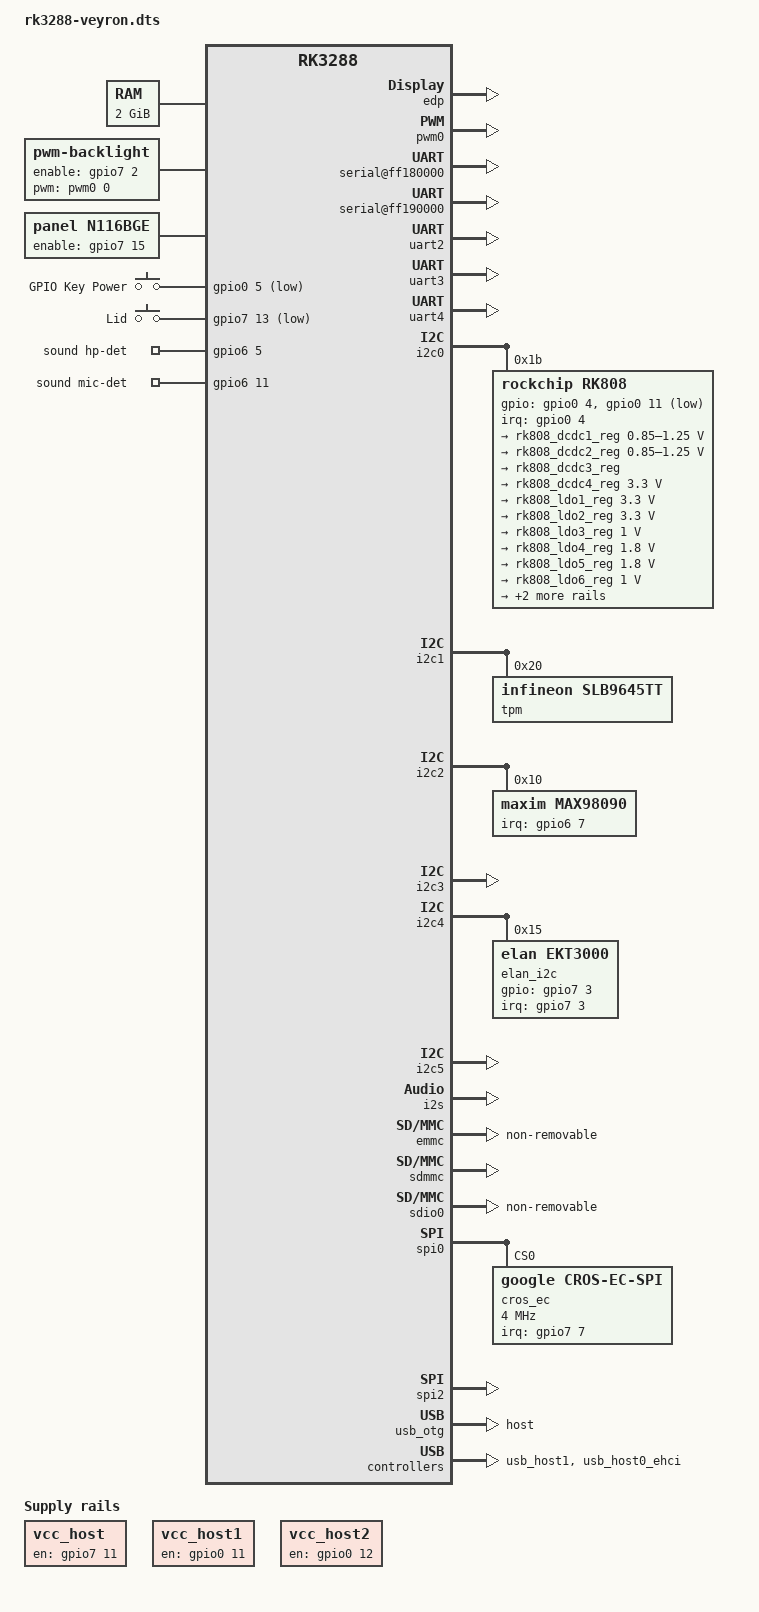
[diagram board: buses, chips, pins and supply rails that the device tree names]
/*
 * This program is free software; you can redistribute it and/or modify
 * it under the terms of the GNU General Public License as published by
 * the Free Software Foundation; either version 2 of the License, or
 * (at your option) any later version.
 *
 * This program is distributed in the hope that it will be useful,
 * but WITHOUT ANY WARRANTY; without even the implied warranty of
 * MERCHANTABILITY or FITNESS FOR A PARTICULAR PURPOSE.  See the
 * GNU General Public License for more details.
 */
/dts-v1/;
#include <dt-bindings/input/input.h>
#include "rk3288.dtsi"

&pinctrl {
	buttons {
		pwrbtn: pwrbtn {
			rockchip,pins = <0 5 RK_FUNC_GPIO &pcfg_pull_up>;
		};
		lid_switch: lid-switch {
			rockchip,pins = <7 13 RK_FUNC_GPIO &pcfg_pull_up>;
		};
	};

	usb {
		host_vbus_drv: host-vbus-drv {
			rockchip,pins = <7 11 RK_FUNC_GPIO &pcfg_pull_up>;
		};
		host1_drv: host1_drv {
			rockchip,pins = <0 11 RK_FUNC_GPIO &pcfg_pull_up>;
		};
		host2_drv: host2_drv {
			rockchip,pins = <0 12 RK_FUNC_GPIO &pcfg_pull_up>;
		};
	};

	elan {
		elan_isr: elan-isr {
			rockchip,pins = <7 3 RK_FUNC_GPIO &pcfg_pull_up>;		
		};
	};

	codec {
		int_codec: int_codec {
			rockchip,pins = <6 7 RK_FUNC_GPIO &pcfg_pull_down>;
		};
	};
};

/ {
	compatible = "rockchip,rk3288-veyron", "rockchip,rk3288";
	aliases {
		mshc0 = &sdmmc;
		mshc1 = &sdio0;
		mshc3 = &emmc;

		serial0 = &uart0;
		serial1 = &uart1;
		serial2 = &uart2;
		serial3 = &uart3;
		serial4 = &uart4;
	};

	memory {
		reg = <0x0 0x80000000>;
	};

	backlight {
		compatible = "pwm-backlight";
		pwms = <&pwm0 0 25000>;
		brightness-levels = <0 1 2 3 4 5 6 7 8 9 10 11 12 13 14 15 16 17 18 19 20 21 22 23 24 25 26 27 28 29 30 31 32 33 34 35 36 37 38 39 40 41 42 43 44 45 46 47 48 49 50 51 52 53 54 55 56 57 58 59 60 61 62 63 64 65 66 67 68 69 70 71 72 73 74 75 76 77 78 79 80 81 82 83 84 85 86 87 88 89 90 91 92 93 94 95 96 97 98 99 100 101 102 103 104 105 106 107 108 109 110 111 112 113 114 115 116 117 118 119 120 121 122 123 124 125 126 127 128 129 130 131 132 133 134 135 136 137 138 139 140 141 142 143 144 145 146 147 148 149 150 151 152 153 154 155 156 157 158 159 160 161 162 163 164 165 166 167 168 169 170 171 172 173 174 175 176 177 178 179 180 181 182 183 184 185 186 187 188 189 190 191 192 193 194 195 196 197 198 199 200 201 202 203 204 205 206 207 208 209 210 211 212 213 214 215 216 217 218 219 220 221 222 223 224 225 226 227 228 229 230 231 232 233 234 235 236 237 238 239 240 241 242 243 244 245 246 247 248 249 250 251 252 253 254 255>;
		default-brightness-level = <128>;
		enable-gpios = <&gpio7 2 GPIO_ACTIVE_HIGH>;
    };

	panel: panel {                                               
		compatible ="panel,n116bge","simple-panel";                        
		status = "okay";
		enable-gpios = <&gpio7 15 GPIO_ACTIVE_HIGH>;
	};

	soc {
		gpio-keys {
			compatible = "gpio-keys";
			#address-cells = <1>;
			#size-cells = <0>;
			autorepeat;
			pinctrl-names = "default";
			pinctrl-0 = <&pwrbtn &lid_switch>;

			pwr-btn {
				gpios = <&gpio0 5 GPIO_ACTIVE_LOW>;
				linux,code = <116>;
				label = "GPIO Key Power";
				linux,input-type = <1>;
				gpio-key,wakeup = <1>;
				debounce-interval = <100>;
			};

			lid {
				label = "Lid";
				gpios = <&gpio7 13 GPIO_ACTIVE_LOW>;
				linux,input-type = <5>; /* EV_SW */
				linux,code = <0>; /* SW_LID */
				debounce-interval = <1>;
				gpio-key,wakeup;
			};
		};

		edp: edp@ff970000 {
			status = "okay";
			rockchip,panel = <&panel>;
		};

		lvds: lvds@ff96c000 {
			status = "disabled";
			rockchip,data-mapping = "jeida";
			rockchip,data-width = <24>;
			rockchip,panel = <&panel>;
		};

		vopb: vopb@ff930000 {
	      		status = "okay";
      		};

		vopl: vopl@ff940000 {
			status = "okay";
		};

		watchdog@ff800000 {
			status = "okay";
		};

		pwm0: pwm@ff680000 {
			status = "okay";
			rockchip,grf = <&grf>;
		};
		
		serial@ff180000 {
			status = "okay";
		};

		serial@ff190000 {
			status = "okay";
		};

		uart2: serial@ff690000 {
			pinctrl-names = "default";
			pinctrl-0 = <&uart2_xfer>;
			status = "okay";
		};

		uart3: serial@ff1b0000 {
			status = "okay";
		};

		uart4: serial@ff1c0000 {
			status = "okay";
		};
	};

	sound {
		compatible = "rockchip,rockchip-audio-max98090-veyron",
				 "rockchip,rockchip-audio-max98090";
		rockchip,model = "ROCKCHIP-I2S";

		rockchip,audio-routing =
			"Headphones", "HPR",
			"Headphones", "HPL",
			"Speakers", "SPKR",
			"Speakers", "SPKL",
			"Mic Jack", "MICBIAS",
			"IN34", "Mic Jack";

		rockchip,hp-det-gpios = <&gpio6 5 GPIO_ACTIVE_HIGH>;
		rockchip,mic-det-gpios = <&gpio6 11 GPIO_ACTIVE_HIGH>;

		rockchip,i2s-controller = <&i2s>;
		rockchip,audio-codec = <&max98090>;
	};

	/* This turns on USB vbus for both host0 (ehci) and host1 (dwc2) */
	vcc_host: vcc-host-regulator {
		compatible = "regulator-fixed";
		enable-active-high;
		gpio = <&gpio7 11 GPIO_ACTIVE_HIGH>;
		pinctrl-names = "default";
		pinctrl-0 = <&host_vbus_drv>;
		regulator-name = "vcc_host";
		regulator-always-on;
		regulator-boot-on;
	};

	vcc_host1: vcc_host1 {
		compatible = "regulator-fixed";
		enable-active-high;
		gpio = <&gpio0 11 GPIO_ACTIVE_HIGH>;
		pinctrl-names = "default";
		pinctrl-0 = <&host1_drv>;
		regulator-name = "vcc_host1";
		regulator-always-on;
		regulator-boot-on;
	};

	vcc_host2: vcc_host2 {
		compatible = "regulator-fixed";
		enable-active-high;
		gpio = <&gpio0 12 GPIO_ACTIVE_HIGH>;
		pinctrl-names = "default";
		pinctrl-0 = <&host2_drv>;
		regulator-name = "vcc_host2";
		regulator-always-on;
		regulator-boot-on;
	};
};

&i2c0 {
	status = "okay";
	pinctrl-names = "default";
	pinctrl-0 = <&i2c0_xfer>;

	rk808: rk808@1b {
		compatible = "rockchip,rk808";
		reg = <0x1b>;
		interrupt-parent = <&gpio0>;
		interrupts = <4 IRQ_TYPE_EDGE_FALLING>;
		gpios = <&gpio0 4 GPIO_ACTIVE_HIGH>,<&gpio0 11 GPIO_ACTIVE_LOW>;
	};
};

&i2c1 {
	status = "okay";
	pinctrl-names = "default";
	pinctrl-0 = <&i2c1_xfer>;

	tpm: tpm@20 {
		compatible = "infineon,slb9645tt";
		reg = <0x20>;
	};
};

&i2c2 {
	status = "okay";
	pinctrl-names = "default";
	pinctrl-0 = <&i2c2_xfer>;

	max98090: max98090@10 {
		compatible = "maxim,max98090";
		reg = <0x10>;
		interrupt-parent = <&gpio6>;
		interrupts = <7 IRQ_TYPE_EDGE_FALLING>;
		pinctrl-names = "default";
		pinctrl-0 = <&int_codec>;
	};
};

&i2c3 {
	status = "okay";
	pinctrl-names = "default";
	pinctrl-0 = <&i2c3_xfer>;
};

&i2c4 {
	status = "okay";
	pinctrl-names = "default";
	pinctrl-0 = <&i2c4_xfer>;

	elan_i2c@15 {
		compatible = "elan,ekt3000";
		reg = <0x15>;
		gpios = <&gpio7 3 GPIO_ACTIVE_HIGH>;
		interrupt-parent = <&gpio7>;
		interrupts = <3 IRQ_TYPE_LEVEL_LOW>;
		pinctrl-names = "default";
		pinctrl-0 = <&elan_isr>;
	};
};

&i2c5 {
	status = "okay";
	pinctrl-names = "default";
	pinctrl-0 = <&i2c5_xfer>;
};

&i2s {
	status = "okay";
	pinctrl-names = "default";
	pinctrl-0 = <&i2s0_clk>;
};

&emmc {
	num-slots = <1>;
	status = "okay";

	clock-frequency = <150000000>;
	clock-freq-min-max = <400000 150000000>;

	default_voltage = <1>;

	broken-cd;
	non-removable;
	cap-mmc-highspeed;

	caps2-mmc-hs200-1_8v;

	pinctrl-names = "default";
	pinctrl-0 = <&emmc_clk &emmc_cmd &emmc_rst &emmc_pwr &emmc_bus8>;

	slot@0 {
		reg = <0>;
		bus-width = <8>;
		disable-wp;
	};
};

&sdmmc {
	num-slots = <1>;
	status = "okay";

	vqmmc-supply = <&rk808_ldo8_reg>;

	clock-frequency = <150000000>;
	clock-freq-min-max = <400000 150000000>;

	card-detect-delay = <200>;

	default_voltage = <0>; //3.3v
	cap-sd-highspeed;
	cap-mmc-highspeed;

	supports-highspeed;
	pinctrl-names = "default", "power_on", "power_off";
	pinctrl-0 = <&sdmmc_clk &sdmmc_cd_gpio &sdmmc_cmd &sdmmc_bus4>;
	pinctrl-1 = <&sdmmc_power_on>;
	pinctrl-2 = <&sdmmc_power_off>;

	slot@0 {
		cd-gpios = <&gpio7 5 GPIO_ACTIVE_LOW>;
		reg = <0>;
		bus-width = <4>;
		disable-wp;
	};
};

&sdio0 {
	num-slots = <1>;
	status = "okay";

	clock-frequency = <150000000>;
	clock-freq-min-max = <400000 150000000>;

	default_voltage = <1>; //1.8v

	broken-cd;
	non-removable;
	cap-sdio-irq;
	cap-sd-highspeed;
	ignore-pm-notify;
	keep-power-in-suspend;

	pinctrl-names = "default";
	pinctrl-0 = <&sdio0_clk &sdio0_cmd &sdio0_cd &sdio0_pwr &sdio0_bkpwr &sdio0_bus4>;

	rockchip,grf = <&grf>;

	slot@0 {
		reg = <0>;
		bus-width = <4>;
		disable-wp;
	};
};

&spi0 {
	status = "okay";
	cros_ec: cros-ec@0 {
		compatible = "google,cros-ec-spi";
		spi-max-frequency = <4000000>;
		interrupt-parent = <&gpio7>;
		interrupts = <7 IRQ_TYPE_LEVEL_LOW>;
		reg = <0>;

		google,cros-ec-spi-msg-delay = <2000>;

		charger: gpio-charger@0 {
			compatible = "gpio-charger";
			charger-type = "usb-sdp";
			gpios = <&gpio0 8 GPIO_ACTIVE_HIGH>;
		};

		i2c-tunnel {
			compatible = "google,cros-ec-i2c-tunnel";
			#address-cells = <1>;
			#size-cells = <0>;

			google,remote-bus = <0>;

			battery: sbs-battery@b {
				compatible = "sbs,sbs-battery";
				reg = <0xb>;
				sbs,i2c-retry-count = <2>;
				sbs,poll-retry-count = <1>;
			};
		};
	};
};

&spi2 {
	status = "okay";
};

&usb_otg {
	dr_mode = "host";
	status = "okay";
};

&usb_host1 {
	status = "okay";
};

&usb_host0_ehci {
	status = "okay";
};

&rk808 {
		//compatible = "rockchip,rk808";
		rk808,system-power-controller;
		regulators {
			#address-cells = <1>;
			#size-cells = <0>;

			rk808_dcdc1_reg: regulator@0 {
				reg = <0>;
				regulator-compatible = "DCDC_REG1";
				regulator-name = "vdd_arm";
				regulator-min-microvolt = <850000>;
				regulator-max-microvolt = <1250000>;
				regulator-initial-mode = <0x2>;
				regulator-always-on;
				regulator-boot-on;
				regulator-initial-state = <3>;
				regulator-state-mem {
					regulator-state-mode = <0x2>;
					regulator-state-disabled;
					regulator-state-uv = <900000>;
				};
			};

			rk808_dcdc2_reg: regulator@1 {
				reg = <1>;
				regulator-compatible = "DCDC_REG2";
				regulator-name = "vdd_gpu";
				regulator-min-microvolt = <850000>;
				regulator-max-microvolt = <1250000>;
				regulator-initial-mode = <0x2>;
				regulator-always-on;
				regulator-boot-on;
				regulator-initial-state = <3>;
				regulator-state-mem {
					regulator-state-mode = <0x2>;
					regulator-state-disabled;
					regulator-state-uv = <900000>;
				};
			};

			rk808_dcdc3_reg: regulator@2 {
				reg = <2>;
				regulator-compatible = "DCDC_REG3";
				regulator-name = "vdd_ddr";
				regulator-initial-mode = <0x2>;
				regulator-always-on;
				regulator-boot-on;
				regulator-initial-state = <3>;
				regulator-state-mem {
					regulator-state-enabled;
				};
			};

			rk808_dcdc4_reg: regulator@3 {
				reg = <3>;
				regulator-compatible = "DCDC_REG4";
				regulator-name = "vccio";
				regulator-min-microvolt = <3300000>;
				regulator-max-microvolt = <3300000>;
				regulator-initial-mode = <0x2>;
				regulator-always-on;
				regulator-boot-on;
				regulator-initial-state = <3>;
				regulator-state-mem {
					regulator-state-mode = <0x2>;
					regulator-state-enabled;
					regulator-state-uv = <2800000>;
				};
			};

			rk808_ldo1_reg: regulator@4 {
				reg = <4>;
				regulator-compatible = "LDO_REG1";
				regulator-min-microvolt = <3300000>;
				regulator-max-microvolt = <3300000>;
				regulator-always-on;
				regulator-boot-on;
				regulator-initial-state = <3>;
				regulator-state-mem {
					regulator-state-enabled;
					regulator-state-uv = <3300000>;
				};
			};

			rk808_ldo2_reg: regulator@5 {
				reg = <5>;
				regulator-compatible = "LDO_REG2";
				regulator-min-microvolt = <3300000>;
				regulator-max-microvolt = <3300000>;
				regulator-always-on;
				regulator-boot-on;
				regulator-initial-state = <3>;
				regulator-state-mem {
					regulator-state-enabled;
					regulator-state-uv = <3300000>;
				};
			};

			rk808_ldo3_reg: regulator@6 {
				reg = <6>;
				regulator-compatible = "LDO_REG3";
				regulator-min-microvolt = <1000000>;
				regulator-max-microvolt = <1000000>;
				regulator-always-on;
				regulator-boot-on;
				regulator-initial-state = <3>;
				regulator-state-mem {
					regulator-state-enabled;
					regulator-state-uv = <1000000>;
				};
			};

			rk808_ldo4_reg: regulator@7{
				reg = <7>;
				regulator-compatible = "LDO_REG4";
				regulator-min-microvolt = <1800000>;
				regulator-max-microvolt = <1800000>;
				regulator-always-on;
				regulator-boot-on;
				regulator-initial-state = <3>;
				regulator-state-mem {
					regulator-state-disabled;
					regulator-state-uv = <1800000>;
				};
			};

			rk808_ldo5_reg: regulator@8{
				reg = <8>;
				regulator-compatible = "LDO_REG5";
				regulator-min-microvolt = <1800000>;
				regulator-max-microvolt = <1800000>;
				regulator-initial-state = <3>;
				regulator-always-on;
				regulator-boot-on;
				regulator-state-mem {
					regulator-state-enabled;
					regulator-state-uv = <3300000>;
				};
			};

			rk808_ldo6_reg: regulator@9{
				reg = <9>;
				regulator-compatible = "LDO_REG6";
				regulator-min-microvolt = <1000000>;
				regulator-max-microvolt = <1000000>;
				regulator-initial-state = <3>;
				regulator-always-on;
				regulator-boot-on;
				regulator-state-mem {
					regulator-state-disabled;
					regulator-state-uv = <1000000>;
				};
			};

			rk808_ldo7_reg: regulator@10 {
				reg = <10>;
				regulator-compatible = "LDO_REG7";
				regulator-min-microvolt = <1800000>;
				regulator-max-microvolt = <1800000>;
				regulator-initial-state = <3>;
				regulator-always-on;
				regulator-boot-on;
				regulator-state-mem {
					regulator-state-enabled;
					regulator-state-uv = <1800000>;
				};
			};

			rk808_ldo8_reg: regulator@11{
				reg = <11>;
				regulator-compatible = "LDO_REG8";
				regulator-min-microvolt = <1800000>;
				regulator-max-microvolt = <3300000>;
				regulator-initial-state = <3>;
				regulator-always-on;
				regulator-boot-on;
				regulator-state-mem {
					regulator-state-enabled;
					regulator-state-uv = <3300000>;
				};
			};

			rk808_ldo9_reg: regulator@12{
				reg = <12>;
				regulator-compatible = "SWITCH_REG1";
				regulator-initial-state = <3>;
				regulator-always-on;
				regulator-boot-on;
				regulator-state-mem {
					regulator-state-enabled;
				};
			};

			rk808_ldo10_reg: regulator@13{
				reg = <13>;
				regulator-compatible = "SWITCH_REG2";
				regulator-initial-state = <3>;
				regulator-always-on;
				regulator-boot-on;
				regulator-state-mem {
					regulator-state-disabled;
				};
			};

		};
};

&cpu0 {
	cpu0-supply = <&rk808_dcdc1_reg>;
};

#include "cros-ec-keyboard.dtsi"
